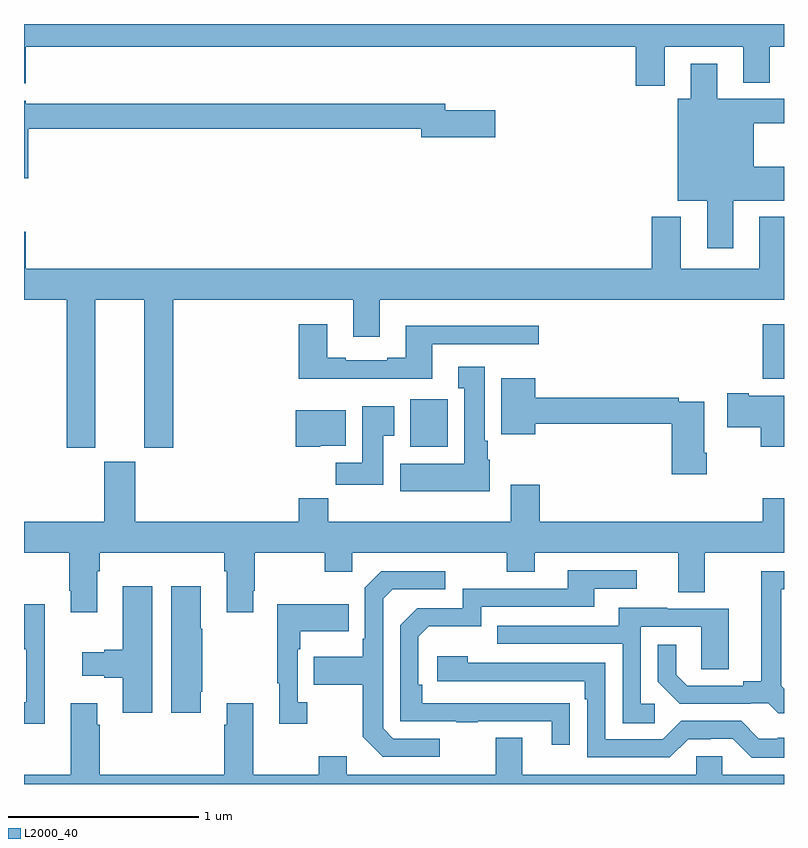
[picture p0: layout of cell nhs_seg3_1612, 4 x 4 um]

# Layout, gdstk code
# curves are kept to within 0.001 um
import gdstk
lib = gdstk.Library(unit=1e-6, precision=1e-09)
def R(c, l, rs):  # rectangles x0, y0, x1, y1
    for r in rs: c.add(gdstk.rectangle(r[:2], r[2:], *l))
def P(c, l, *ps):  # polygons
    for p in ps: c.add(gdstk.Polygon(p, *l))
L2000_40 = (2000, 40)

nhs_seg3_1612 = lib.new_cell('nhs_seg3_1612')
R(nhs_seg3_1612, L2000_40, [(197.033,668.174,197.229,668.425), (198.887,668.534,199,668.821)])
P(nhs_seg3_1612, L2000_40, [(198.373,670.28),(198.785,670.28),(198.785,670.091),(198.925,670.091),(198.925,670.28),(199,670.28),(199,670.4),(195,670.4),(195,670.089),(195.008,670.089),(195.008,670.28),(198.221,670.28),(198.221,670.074),(198.373,670.074)],
  [(198.733,669.47),(199,669.47),(199,669.649),(198.841,669.649),(198.841,669.878),(199,669.878),(199,670.006),(198.649,670.006),(198.649,670.192),(198.509,670.192),(198.509,670.006),(198.44,670.006),(198.44,669.47),(198.596,669.47),(198.596,669.219),(198.733,669.219)],
  [(195.023,669.85),(197.09,669.85),(197.09,669.803),(197.479,669.803),(197.479,669.945),(197.218,669.945),(197.218,669.979),(195.01,669.979),(195.01,669.996),(195,669.996),(195,669.588),(195.023,669.588)],
  [(195.376,668.948),(195.632,668.948),(195.632,668.169),(195.785,668.169),(195.785,668.948),(196.733,668.948),(196.733,668.754),(196.873,668.754),(196.873,668.948),(199,668.948),(199,669.385),(198.869,669.385),(198.869,669.112),(198.457,669.112),(198.457,669.385),(198.305,669.385),(198.305,669.112),(195.008,669.112),(195.008,669.307),(195,669.307),(195,668.948),(195.224,668.948),(195.224,668.169),(195.376,668.169)],
  [(197.149,668.715),(197.71,668.715),(197.71,668.812),(197.009,668.812),(197.009,668.644),(196.913,668.644),(196.913,668.631),(196.693,668.631),(196.693,668.644),(196.597,668.644),(196.597,668.821),(196.445,668.821),(196.445,668.534),(197.149,668.534)],
  [(197.452,668.106),(197.44,668.106),(197.44,668.206),(197.425,668.206),(197.425,668.596),(197.285,668.596),(197.285,668.483),(197.318,668.483),(197.318,668.086),(196.979,668.086),(196.979,667.94),(197.452,667.94)],
  [(198.593,668.143),(198.58,668.143),(198.58,668.412),(198.446,668.412),(198.446,668.432),(197.692,668.432),(197.692,668.536),(197.513,668.536),(197.513,668.24),(197.692,668.24),(197.692,668.296),(198.41,668.296),(198.41,668.031),(198.593,668.031)],
  [(199,668.443),(198.814,668.443),(198.814,668.456),(198.702,668.456),(198.702,668.278),(198.877,668.278),(198.877,668.174),(199,668.174)],
  [(196.891,668.233),(196.948,668.233),(196.948,668.389),(196.781,668.389),(196.781,668.092),(196.642,668.092),(196.642,667.974),(196.891,667.974)],
  [(196.56,668.18),(196.693,668.18),(196.693,668.368),(196.43,668.368),(196.43,668.174),(196.56,668.174)],
  [(195.385,667.52),(195.398,667.52),(195.398,667.616),(196.055,667.616),(196.055,667.52),(196.067,667.52),(196.067,667.305),(196.207,667.305),(196.207,667.417),(196.215,667.417),(196.215,667.616),(196.582,667.616),(196.582,667.517),(196.728,667.517),(196.728,667.616),(197.542,667.616),(197.542,667.517),(197.689,667.517),(197.689,667.616),(198.443,667.616),(198.443,667.408),(198.583,667.408),(198.583,667.616),(199,667.616),(199,667.904),(198.887,667.904),(198.887,667.78),(197.714,667.78),(197.714,667.975),(197.561,667.975),(197.561,667.78),(196.601,667.78),(196.601,667.904),(196.445,667.904),(196.445,667.78),(195.586,667.78),(195.586,668.097),(195.422,668.097),(195.422,667.78),(195,667.78),(195,667.616),(195.238,667.616),(195.238,667.417),(195.245,667.417),(195.245,667.305),(195.385,667.305)],
  [(197.873,666.824),(197.096,666.825),(197.096,666.922),(197.076,666.922),(197.076,667.176),(197.129,667.229),(197.406,667.229),(197.406,667.332),(198.001,667.332),(198.001,667.428),(198.226,667.428),(198.226,667.524),(197.861,667.524),(197.861,667.428),(197.31,667.428),(197.31,667.326),(197.07,667.326),(196.98,667.236),(196.98,666.729),(197.275,666.729),(197.275,666.724),(197.387,666.724),(197.387,666.729),(197.777,666.729),(197.777,666.606),(197.873,666.606)],
  [(199,666.902),(198.985,666.917),(198.985,667.425),(199,667.425),(199,667.521),(198.881,667.521),(198.881,666.941),(198.785,666.941),(198.785,666.918),(198.49,666.918),(198.433,666.975),(198.433,667.132),(198.336,667.132),(198.336,666.938),(198.452,666.822),(198.824,666.822),(198.824,666.825),(198.918,666.825),(198.97,666.773),(199,666.773)],
  [(197.188,666.639),(196.944,666.639),(196.89,666.693),(196.89,667.374),(196.941,667.425),(197.218,667.425),(197.218,667.521),(196.881,667.521),(196.794,667.434),(196.794,667.165),(196.782,667.165),(196.782,667.069),(196.525,667.069),(196.525,666.922),(196.782,666.922),(196.782,666.649),(196.887,666.543),(197.188,666.543)],
  [(195.931,666.886),(195.939,666.886),(195.939,667.217),(195.931,667.217),(195.931,667.441),(195.776,667.441),(195.776,666.774),(195.931,666.774)],
  [(195.676,667.441),(195.521,667.441),(195.521,667.106),(195.422,667.106),(195.422,667.093),(195.306,667.093),(195.306,666.971),(195.422,666.971),(195.422,666.959),(195.521,666.959),(195.521,666.774),(195.676,666.774)],
  [(196.492,666.83),(196.44,666.83),(196.44,667.109),(196.453,667.109),(196.453,667.205),(196.709,667.205),(196.709,667.345),(196.332,667.345),(196.332,666.929),(196.343,666.929),(196.343,666.717),(196.492,666.717)],
  [(195.11,667.345),(195,667.345),(195,667.109),(195.012,667.109),(195.012,666.83),(195,666.83),(195,666.717),(195.11,666.717)],
  [(198.319,666.822),(198.246,666.822),(198.246,667.227),(198.564,667.227),(198.564,667.003),(198.709,667.003),(198.709,667.323),(198.385,667.323),(198.385,667.327),(198.131,667.327),(198.131,667.233),(197.491,667.233),(197.491,667.137),(198.15,667.137),(198.15,666.721),(198.319,666.721)],
  [(199,666.643),(198.967,666.643),(198.967,666.639),(198.867,666.639),(198.774,666.732),(198.459,666.732),(198.363,666.636),(198.06,666.636),(198.06,667.038),(197.336,667.038),(197.336,667.072),(197.175,667.072),(197.175,666.942),(197.951,666.942),(197.951,666.845),(197.964,666.845),(197.964,666.54),(198.399,666.54),(198.495,666.636),(198.614,666.636),(198.614,666.639),(198.729,666.639),(198.829,666.539),(199,666.539)],
  [(199,666.448),(198.675,666.448),(198.675,666.546),(198.537,666.546),(198.537,666.448),(197.623,666.448),(197.623,666.643),(197.483,666.643),(197.483,666.448),(196.699,666.448),(196.699,666.547),(196.552,666.547),(196.552,666.448),(196.207,666.448),(196.207,666.826),(196.067,666.826),(196.067,666.713),(196.055,666.713),(196.055,666.448),(195.398,666.448),(195.398,666.713),(195.385,666.713),(195.385,666.826),(195.245,666.826),(195.245,666.448),(195,666.448),(195,666.4),(199,666.4)])

lib.write_gds('nhs_seg3_1612.gds')
